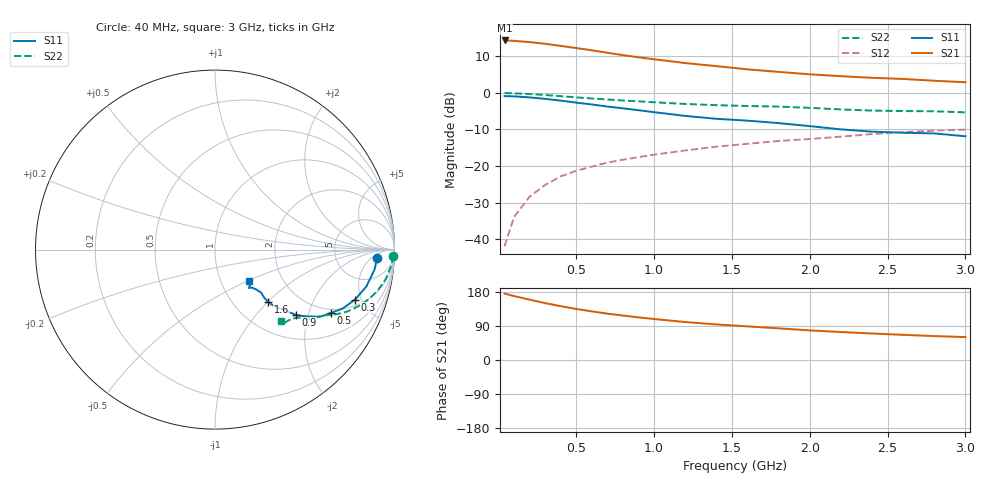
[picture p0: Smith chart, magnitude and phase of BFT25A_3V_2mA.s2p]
! Filename:  BFT25AJ.S2P  Version:  2.0
! Philips part #: BFT25A  Date: Aug 1990
! Bias condition: Vce=3V, Ic=2mA
#  MHz  S  MA  R  50
! Freq  S11  S21  S12  S22  !GUM [dB]
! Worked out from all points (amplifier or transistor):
!   21 points, 40 MHz to 3 GHz, reference 50 ohm
!   highest |S21| = 14.3 dB at 40 MHz (marker M1)
!   |S21| within 3 dB of that: start of sweep to 646.2 MHz
!   unconditionally stable (mu >= 1): 1.946 GHz to end of sweep
!   at 300 MHz: K = 0.31, MSG = 19.3 dB, |S12| = -25.2 dB
!   at 1 GHz: K = 0.76, MSG = 13.0 dB, |S12| = -16.9 dB
!   at 3 GHz: K = 1.09, MAG = 4.6 dB, |S12| = -10.0 dB
!   S11 on the Smith chart (normalised r, x): 40 MHz: 16, -8; 300 MHz: 2.50, -4.44; 500 MHz: 1.83, -2.82; 900 MHz: 1.53, -1.68; 1.6 GHz: 1.43, -1.01; 3 GHz: 1.35, -0.50
40  0.905 -2.9  5.215 175.2  0.008 86.7  0.994 -2.0
100  0.896 -7.1  5.152 168.8  0.02 84.5  0.987 -5.1
200  0.868 -13.7  4.955 159.3  0.038 81.9  0.965 -9.9
300  0.829 -19.6  4.7 150.2  0.055 78.2  0.935 -14.1
400  0.784 -24.7  4.396 142.0  0.072 75.9  0.901 -17.8
500  0.736 -28.7  4.105 134.7  0.086 73.0  0.869 -20.8
600  0.695 -32.5  3.824 128.3  0.098 71.6  0.838 -23.2
700  0.65 -35.0  3.544 122.3  0.111 70.2  0.812 -25.2
800  0.615 -37.1  3.287 117.3  0.122 69.0  0.787 -26.7
900  0.579 -38.9  3.066 112.4  0.132 68.3  0.766 -28.1
1000  0.545 -40.0  2.884 108.2  0.143 67.6  0.744 -29.1
1200  0.484 -42.4  2.561 100.2  0.163 65.8  0.706 -31.4
1400  0.442 -44.1  2.323 93.9  0.184 64.8  0.679 -33.7
1600  0.417 -44.5  2.099 88.7  0.201 63.9  0.662 -35.1
1800  0.386 -44.4  1.937 83.5  0.22 63.1  0.649 -36.6
2000  0.351 -43.0  1.796 78.2  0.234 61.4  0.624 -37.6
2200  0.317 -44.2  1.692 73.8  0.252 59.8  0.594 -39.6
2400  0.295 -45.8  1.608 70.0  0.273 58.7  0.573 -42.6
2600  0.285 -48.6  1.551 66.4  0.291 57.4  0.564 -45.6
2800  0.279 -46.0  1.466 63.1  0.304 56.7  0.56 -46.7
3000  0.255 -42.9  1.398 60.4  0.315 56.0  0.542 -47.3
